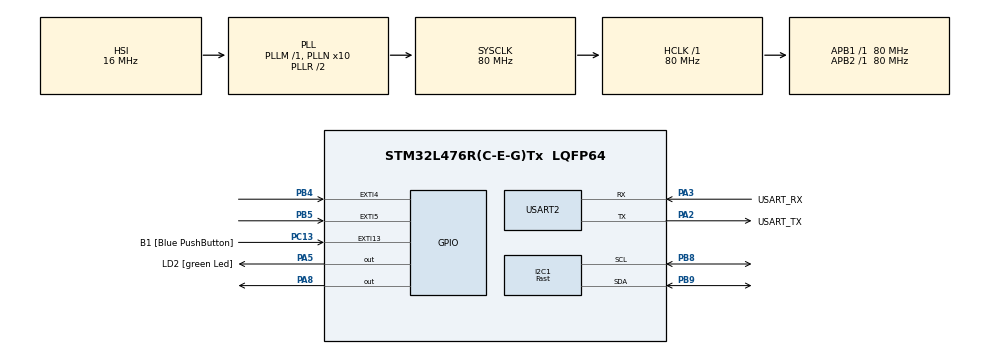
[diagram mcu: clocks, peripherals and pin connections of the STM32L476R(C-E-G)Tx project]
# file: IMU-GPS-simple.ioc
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I2C1.I2C_Speed_Mode=I2C_Fast
I2C1.Timing=0x00702991
Mcu.Family=STM32L4
Mcu.Name=STM32L476R(C-E-G)Tx
Mcu.Package=LQFP64
NVIC.EXTI4_IRQn=true\:0\:0\:false\:false\:true\:true\:true
NVIC.EXTI9_5_IRQn=true\:0\:0\:false\:false\:true\:true\:true
NVIC.PriorityGroup=NVIC_PRIORITYGROUP_4
PA13\ (JTMS-SWDIO).GPIO_Label=TMS
PA13\ (JTMS-SWDIO).Signal=SYS_JTMS-SWDIO
PA14\ (JTCK-SWCLK).GPIO_Label=TCK
PA14\ (JTCK-SWCLK).Signal=SYS_JTCK-SWCLK
PA2.GPIO_Label=USART_TX
PA2.GPIO_Mode=GPIO_MODE_AF_PP
PA2.GPIO_PuPd=GPIO_NOPULL
PA2.GPIO_Speed=GPIO_SPEED_FREQ_VERY_HIGH
PA2.Mode=Asynchronous
PA2.Signal=USART2_TX
PA3.GPIO_Label=USART_RX
PA3.GPIO_Mode=GPIO_MODE_AF_PP
PA3.GPIO_PuPd=GPIO_NOPULL
PA3.GPIO_Speed=GPIO_SPEED_FREQ_VERY_HIGH
PA3.Mode=Asynchronous
PA3.Signal=USART2_RX
PA5.GPIO_Label=LD2 [green Led]
PA5.GPIO_ModeDefaultOutputPP=GPIO_MODE_OUTPUT_PP
PA5.GPIO_PuPd=GPIO_NOPULL
PA5.GPIO_Speed=GPIO_SPEED_FREQ_LOW
PA5.Signal=GPIO_Output
PA8.Signal=GPIO_Output
PB3\ (JTDO-TRACESWO).GPIO_Label=SWO
PB3\ (JTDO-TRACESWO).Signal=SYS_JTDO-SWO
PB4\ (NJTRST).Signal=GPXTI4
PB5.Signal=GPXTI5
PB8.GPIO_FM8=__NULL
PB8.Mode=I2C
PB8.Signal=I2C1_SCL
PB9.GPIO_FM9=__NULL
PB9.Mode=I2C
PB9.Signal=I2C1_SDA
PC13.GPIO_Label=B1 [Blue PushButton]
PC13.GPIO_ModeDefaultEXTI=GPIO_MODE_IT_FALLING
PC13.GPIO_PuPd=GPIO_NOPULL
PC13.Signal=GPXTI13
PC14-OSC32_IN\ (PC14).Signal=RCC_OSC32_IN
PC15-OSC32_OUT\ (PC15).Signal=RCC_OSC32_OUT
PH0-OSC_IN\ (PH0).Mode=HSE-External-Clock-Source
PH0-OSC_IN\ (PH0).Signal=RCC_OSC_IN
PH1-OSC_OUT\ (PH1).Signal=RCC_OSC_OUT
ProjectManager.HeapSize=0x200
ProjectManager.StackSize=0x400
ProjectManager.TargetToolchain=STM32CubeIDE
RCC.ADCFreq_Value=64000000
RCC.AHBFreq_Value=80000000
RCC.APB1Freq_Value=80000000
RCC.APB1TimFreq_Value=80000000
RCC.APB2Freq_Value=80000000
RCC.APB2TimFreq_Value=80000000
RCC.CortexFreq_Value=80000000
RCC.HCLKFreq_Value=80000000
RCC.HSE_VALUE=8000000
RCC.HSI_VALUE=16000000
RCC.LSE_VALUE=32768
RCC.MSI_VALUE=4000000
RCC.PLLN=10
RCC.PLLSourceVirtual=RCC_PLLSOURCE_HSI
RCC.PREFETCH_ENABLE=1
RCC.SYSCLKFreq_VALUE=80000000
RCC.SYSCLKSource=RCC_SYSCLKSOURCE_PLLCLK
RCC.USBFreq_Value=64000000
RCC.VCOOutputFreq_Value=160000000
USART2.VirtualMode-Asynchronous=VM_ASYNC
board=NUCLEO-L476RG

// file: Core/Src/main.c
/* USER CODE BEGIN Header */
/**
 ******************************************************************************
 * @file           : main.c
 * @brief          : Main program body
 ******************************************************************************
 * @attention
 *
 * <h2><center>&copy; Copyright (c) 2021 STMicroelectronics.
 * All rights reserved.</center></h2>
 *
 * This software component is licensed by ST under BSD 3-Clause license,
 * the "License"; You may not use this file except in compliance with the
 * License. You may obtain a copy of the License at:
 *                        opensource.org/licenses/BSD-3-Clause
 *
 ******************************************************************************
 */
/* USER CODE END Header */
#include "main.h"

/* USER CODE BEGIN Includes */
#include <stdio.h>
#include <math.h>

#include "teseo_liv3f.h"
#include "iks01a2.h"
#include "ahrs.h"
#include "can.h"
#include "scheduler.h"
#include "globalvar.h"

/* USER CODE END Includes */

I2C_HandleTypeDef hi2c1;

UART_HandleTypeDef huart2;

/* USER CODE BEGIN PV */

extern CAN_HandleTypeDef     hcan;

int SEND_GPS = 1;
int SEND_IMU = 1;

uint8_t gps_data[8] = {0x00, 0x00, 0x00, 0x00, 0x00, 0x00, 0x00, 0x00};
uint8_t imu_data[8] = {0x00, 0x00, 0x00, 0x00, 0x00, 0x00, 0x00, 0x00};

AHRS_3AxisValues accelerometer;
AHRS_3AxisValues gyroscope;
AHRS_3AxisValues magnetometer;
AHRS_3AxisValues *eulerangles;

/* USER CODE END PV */

void SystemClock_Config(void);
static void MX_GPIO_Init(void);
static void MX_I2C1_Init(void);
static void MX_USART2_UART_Init(void);
/* USER CODE BEGIN PFP */
void CAN_FIFO_0_Callback(CAN_RxHeaderTypeDef *rxHeader, uint8_t data[]);
/* USER CODE END PFP */

int main(void)
{

	/* MCU Configuration--------------------------------------------------------*/

	/* Reset of all peripherals, Initializes the Flash interface and the Systick. */
	HAL_Init();

	/* Configure the system clock */
	SystemClock_Config();

	/* Initialize all configured peripherals */
	MX_GPIO_Init();
	MX_I2C1_Init();
	MX_USART2_UART_Init();
	/* USER CODE BEGIN 2 */

	/* Initialization of IKS01A2 sensors */
	if (!IKS01A2_Init()) {
		while (1); // IMU doesn't initialize correctly
	}

	/* Initialization of GPS */
	if (TESEO_Init() != GNSS_OK) {
		while (1); // Gps doesn't initialize correctly
	}

	/* Initialization of CAN */
	/* Todo: activate it when a driver is connected
	 * otherwise, it is flooding system with interrupt
	 */
	CAN_Init();
	CAN_AddRXCallback(CAN_FIFO_0_Callback);

	/* Initialisation of AHRS */
	AHRS_Init();

	/* Various initializations */
	GLOBVAR_Init();
	SCHEDULER_Init();
	SCHEDULER_Run();
	/* USER CODE END 2 */

	/* Infinite loop */
	/* USER CODE BEGIN WHILE */
	//uint8_t data[8]={1,2,3,4,5,6,7,8};
	magnetometer.x = 1.0;
	accelerometer.x= 1.0;
	gyroscope.x=1.0;

	while (1)
	{
		/* USER CODE END WHILE */

		//eulerangles = AHRS_GetEulerAngles();
		//AHRS_Update(&accelerometer, &gyroscope, &magnetometer);
		//printf("%f, %f, %f\n", accelerometer.x, accelerometer.y, accelerometer.z);
		//printf("%f, %f, %f\n", gyroscope.x, gyroscope.y, gyroscope.z);
		//swprintf("%f, %f, %f\n", magnetometer.x, magnetometer.y, magnetometer.z);

		/* USER CODE BEGIN 3 */
		// Envoi des mesures GPS (toutes les 500ms)
		if (SEND_GPS){
		    SEND_GPS = 0;
		    SCHEDULER_Run();
		    float64_t lat = current_coords.lat;
		    float64_t lon = current_coords.lon;
		    float64_t computing = lat;
		    int Lat3 = floor(computing);
		    computing = 100.0*(computing-(double)Lat3);
		    int Lat2 = floor(computing);
		    computing = 100.0*(computing-(double)Lat2);
		    int Lat1 = floor(computing);
		    computing = 100.0*(computing-(double)Lat1);
		    int Lat0 = floor(computing);
		    computing = lon;
		    int Lon3 = floor(computing);
		    computing = 100.0*(computing-(double)Lon3);
		    int Lon2 = floor(computing);
		    computing = 100.0*(computing-(double)Lon2);
		    int Lon1 = floor(computing);
		    computing = 100.0*(computing-(double)Lon1);
		    int Lon0 = floor(computing);
		    gps_data[0] = Lat3;
		    gps_data[1] = Lat2;
		    gps_data[2] = Lat1;
		    gps_data[3] = Lat0;
		    gps_data[4] = Lon3;
		    gps_data[5] = Lon2;
		    gps_data[6] = Lon1;
		    gps_data[7] = Lon0;
		    CAN_Send(gps_data, CAN_ID_GPS);
		}
		// Envoi des mesures IMU (toutes les xxxms)
		if (SEND_IMU){
			SEND_IMU = 0;
			CAN_Send(imu_data, CAN_ID_IMU);
		}

	}
	/* USER CODE END 3 */
}

void SystemClock_Config(void)
{
	RCC_OscInitTypeDef RCC_OscInitStruct = {0};
	RCC_ClkInitTypeDef RCC_ClkInitStruct = {0};

	/** Configure the main internal regulator output voltage
	 */
	if (HAL_PWREx_ControlVoltageScaling(PWR_REGULATOR_VOLTAGE_SCALE1) != HAL_OK)
	{
		Error_Handler();
	}
	/** Initializes the RCC Oscillators according to the specified parameters
	 * in the RCC_OscInitTypeDef structure.
	 */
	RCC_OscInitStruct.OscillatorType = RCC_OSCILLATORTYPE_HSI;
	RCC_OscInitStruct.HSIState = RCC_HSI_ON;
	RCC_OscInitStruct.HSICalibrationValue = RCC_HSICALIBRATION_DEFAULT;
	RCC_OscInitStruct.PLL.PLLState = RCC_PLL_ON;
	RCC_OscInitStruct.PLL.PLLSource = RCC_PLLSOURCE_HSI;
	RCC_OscInitStruct.PLL.PLLM = 1;
	RCC_OscInitStruct.PLL.PLLN = 10;
	RCC_OscInitStruct.PLL.PLLP = RCC_PLLP_DIV7;
	RCC_OscInitStruct.PLL.PLLQ = RCC_PLLQ_DIV2;
	RCC_OscInitStruct.PLL.PLLR = RCC_PLLR_DIV2;
	if (HAL_RCC_OscConfig(&RCC_OscInitStruct) != HAL_OK)
	{
		Error_Handler();
	}
	/** Initializes the CPU, AHB and APB buses clocks
	 */
	RCC_ClkInitStruct.ClockType = RCC_CLOCKTYPE_HCLK|RCC_CLOCKTYPE_SYSCLK
			|RCC_CLOCKTYPE_PCLK1|RCC_CLOCKTYPE_PCLK2;
	RCC_ClkInitStruct.SYSCLKSource = RCC_SYSCLKSOURCE_PLLCLK;
	RCC_ClkInitStruct.AHBCLKDivider = RCC_SYSCLK_DIV1;
	RCC_ClkInitStruct.APB1CLKDivider = RCC_HCLK_DIV1;
	RCC_ClkInitStruct.APB2CLKDivider = RCC_HCLK_DIV1;

	if (HAL_RCC_ClockConfig(&RCC_ClkInitStruct, FLASH_LATENCY_4) != HAL_OK)
	{
		Error_Handler();
	}
}

static void MX_I2C1_Init(void)
{

	hi2c1.Instance = I2C1;
	hi2c1.Init.Timing = 0x00702991;
	hi2c1.Init.OwnAddress1 = 0;
	hi2c1.Init.AddressingMode = I2C_ADDRESSINGMODE_7BIT;
	hi2c1.Init.DualAddressMode = I2C_DUALADDRESS_DISABLE;
	hi2c1.Init.OwnAddress2 = 0;
	hi2c1.Init.OwnAddress2Masks = I2C_OA2_NOMASK;
	hi2c1.Init.GeneralCallMode = I2C_GENERALCALL_DISABLE;
	hi2c1.Init.NoStretchMode = I2C_NOSTRETCH_DISABLE;
	if (HAL_I2C_Init(&hi2c1) != HAL_OK)
	{
		Error_Handler();
	}
	/** Configure Analog filter
	 */
	if (HAL_I2CEx_ConfigAnalogFilter(&hi2c1, I2C_ANALOGFILTER_ENABLE) != HAL_OK)
	{
		Error_Handler();
	}
	/** Configure Digital filter
	 */
	if (HAL_I2CEx_ConfigDigitalFilter(&hi2c1, 0) != HAL_OK)
	{
		Error_Handler();
	}

}

static void MX_USART2_UART_Init(void)
{

	huart2.Instance = USART2;
	huart2.Init.BaudRate = 115200;
	huart2.Init.WordLength = UART_WORDLENGTH_8B;
	huart2.Init.StopBits = UART_STOPBITS_1;
	huart2.Init.Parity = UART_PARITY_NONE;
	huart2.Init.Mode = UART_MODE_TX_RX;
	huart2.Init.HwFlowCtl = UART_HWCONTROL_NONE;
	huart2.Init.OverSampling = UART_OVERSAMPLING_16;
	huart2.Init.OneBitSampling = UART_ONE_BIT_SAMPLE_DISABLE;
	huart2.AdvancedInit.AdvFeatureInit = UART_ADVFEATURE_NO_INIT;
	if (HAL_UART_Init(&huart2) != HAL_OK)
	{
		Error_Handler();
	}

}

static void MX_GPIO_Init(void)
{
	GPIO_InitTypeDef GPIO_InitStruct = {0};

	/* GPIO Ports Clock Enable */
	__HAL_RCC_GPIOC_CLK_ENABLE();
	__HAL_RCC_GPIOH_CLK_ENABLE();
	__HAL_RCC_GPIOA_CLK_ENABLE();
	__HAL_RCC_GPIOB_CLK_ENABLE();

	/*Configure GPIO pin Output Level */
	HAL_GPIO_WritePin(GPIOA, LD2_Pin|GPIO_PIN_8, GPIO_PIN_RESET);

	/*Configure GPIO pin : B1_Pin */
	GPIO_InitStruct.Pin = B1_Pin;
	GPIO_InitStruct.Mode = GPIO_MODE_IT_FALLING;
	GPIO_InitStruct.Pull = GPIO_NOPULL;
	HAL_GPIO_Init(B1_GPIO_Port, &GPIO_InitStruct);

	/*Configure GPIO pins : LD2_Pin PA8 */
	GPIO_InitStruct.Pin = LD2_Pin|GPIO_PIN_8;
	GPIO_InitStruct.Mode = GPIO_MODE_OUTPUT_PP;
	GPIO_InitStruct.Pull = GPIO_NOPULL;
	GPIO_InitStruct.Speed = GPIO_SPEED_FREQ_LOW;
	HAL_GPIO_Init(GPIOA, &GPIO_InitStruct);

	/*Configure GPIO pins : PB4 PB5 */
	GPIO_InitStruct.Pin = GPIO_PIN_4|GPIO_PIN_5;
	GPIO_InitStruct.Mode = GPIO_MODE_IT_RISING;
	GPIO_InitStruct.Pull = GPIO_NOPULL;
	HAL_GPIO_Init(GPIOB, &GPIO_InitStruct);

	/* EXTI interrupt init*/
	HAL_NVIC_SetPriority(EXTI4_IRQn, 0, 0);
	HAL_NVIC_EnableIRQ(EXTI4_IRQn);

	HAL_NVIC_SetPriority(EXTI9_5_IRQn, 0, 0);
	HAL_NVIC_EnableIRQ(EXTI9_5_IRQn);

}

/* USER CODE BEGIN 4 */
void CAN_FIFO_0_Callback(CAN_RxHeaderTypeDef *rxHeader, uint8_t data[])
{

}
/* USER CODE END 4 */

void Error_Handler(void)
{
	__disable_irq();
	while (1)
	{
	}
}

/************************ (C) COPYRIGHT STMicroelectronics *****END OF FILE****/
